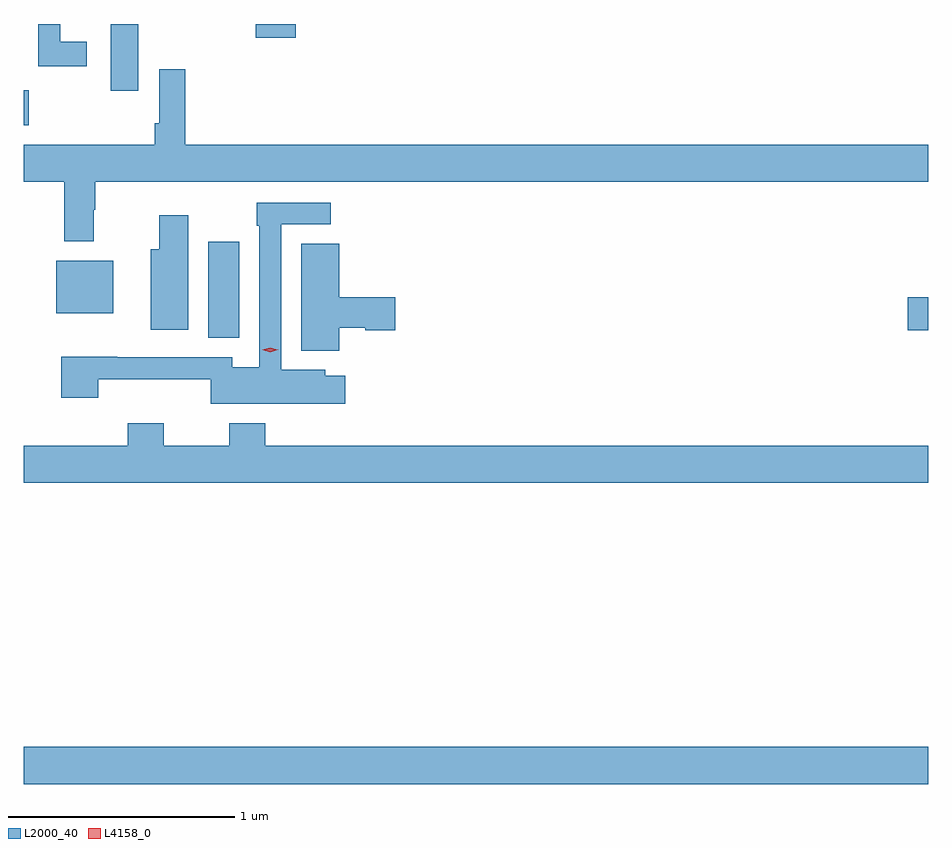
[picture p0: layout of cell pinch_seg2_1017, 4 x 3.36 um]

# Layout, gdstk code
import gdstk
lib = gdstk.Library(unit=1e-6, precision=1e-09)
def R(c, l, rs):  # rectangles x0, y0, x1, y1
    for r in rs: c.add(gdstk.rectangle(r[:2], r[2:], *l))
def P(c, l, *ps):  # polygons
    for p in ps: c.add(gdstk.Polygon(p, *l))
L2000_40 = (2000, 40)
L4158_0 = (4158, 0)

pinch_seg2_1017 = lib.new_cell('pinch_seg2_1017')
R(pinch_seg2_1017, L2000_40, [(322.154,613.004,326.154,613.168), (322.97,614.977,323.107,615.403), (326.064,615.011,326.154,615.158), (322.298,615.086,322.549,615.319), (322.154,615.918,322.176,616.074), (322.538,616.071,322.66,616.366), (323.179,616.305,323.357,616.366)])
P(pinch_seg2_1017, L2000_40, [(322.432,616.287),(322.314,616.287),(322.314,616.366),(322.218,616.366),(322.218,616.179),(322.432,616.179)],
  [(322.462,615.545),(322.469,615.545),(322.469,615.668),(326.154,615.668),(326.154,615.832),(322.868,615.832),(322.868,616.165),(322.752,616.165),(322.752,615.928),(322.732,615.928),(322.732,615.832),(322.154,615.832),(322.154,615.668),(322.333,615.668),(322.333,615.405),(322.462,615.405)],
  [(323.575,614.809),(323.487,614.809),(323.487,614.836),(323.292,614.836),(323.292,615.48),(323.512,615.48),(323.512,615.576),(323.184,615.576),(323.184,615.473),(323.196,615.473),(323.196,614.848),(323.076,614.848),(323.076,614.892),(322.567,614.892),(322.567,614.894),(322.319,614.894),(322.319,614.712),(322.484,614.712),(322.484,614.795),(322.98,614.795),(322.98,614.687),(323.575,614.687)],
  [(322.882,615.52),(322.753,615.52),(322.753,615.37),(322.715,615.37),(322.715,615.014),(322.882,615.014)],
  [(323.548,615.023),(323.664,615.023),(323.664,615.011),(323.797,615.011),(323.797,615.158),(323.548,615.158),(323.548,615.395),(323.381,615.395),(323.381,614.921),(323.548,614.921)],
  [(326.154,614.5),(323.222,614.5),(323.222,614.599),(323.062,614.599),(323.062,614.5),(322.773,614.5),(322.773,614.599),(322.613,614.599),(322.613,614.5),(322.154,614.5),(322.154,614.336),(326.154,614.336)])
P(pinch_seg2_1017, L4158_0, [(323.244,614.914),(323.209,614.924),(323.209,614.924),(323.209,614.924),(323.244,614.934),(323.278,614.924),(323.279,614.924),(323.278,614.924)])

lib.write_gds('pinch_seg2_1017.gds')
